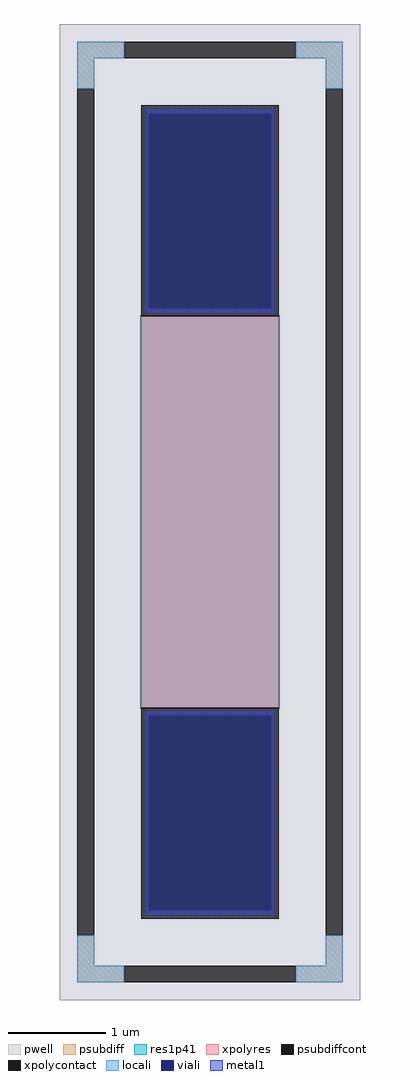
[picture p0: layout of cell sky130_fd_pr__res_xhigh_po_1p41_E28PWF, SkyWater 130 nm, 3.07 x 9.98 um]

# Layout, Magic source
magic
tech sky130A
magscale 1 2
<< pwell >>
rect -307 -998 307 998
<< psubdiff >>
rect -271 928 -175 962
rect 175 928 271 962
rect -271 866 -237 928
rect 237 866 271 928
rect -271 -928 -237 -866
rect 237 -928 271 -866
rect -271 -962 -175 -928
rect 175 -962 271 -928
<< psubdiffcont >>
rect -175 928 175 962
rect -271 -866 -237 866
rect 237 -866 271 866
rect -175 -962 175 -928
<< xpolycontact >>
rect -141 400 141 832
rect -141 -832 141 -400
<< xpolyres >>
rect -141 -400 141 400
<< locali >>
rect -271 928 -175 962
rect 175 928 271 962
rect -271 866 -237 928
rect 237 866 271 928
rect -271 -928 -237 -866
rect 237 -928 271 -866
rect -271 -962 -175 -928
rect 175 -962 271 -928
<< viali >>
rect -125 417 125 814
rect -125 -814 125 -417
<< metal1 >>
rect -131 814 131 826
rect -131 417 -125 814
rect 125 417 131 814
rect -131 405 131 417
rect -131 -417 131 -405
rect -131 -814 -125 -417
rect 125 -814 131 -417
rect -131 -826 131 -814
<< res1p41 >>
rect -143 -402 143 402
<< properties >>
string FIXED_BBOX -254 -945 254 945
string gencell sky130_fd_pr__res_xhigh_po_1p41
string library sky130
string parameters w 1.410 l 4.0 m 1 nx 1 wmin 1.410 lmin 0.50 rho 2000 val 5.94k dummy 0 dw 0.0 term 188.2 sterm 0.0 caplen 0 wmax 1.410 guard 1 glc 1 grc 1 gtc 1 gbc 1 compatible {sky130_fd_pr__res_xhigh_po_0p35  sky130_fd_pr__res_xhigh_po_0p69 sky130_fd_pr__res_xhigh_po_1p41  sky130_fd_pr__res_xhigh_po_2p85 sky130_fd_pr__res_xhigh_po_5p73} snake 0 full_metal 1 n_guard 0 hv_guard 0 vias 1 viagb 0 viagt 0 viagl 0 viagr 0
<< end >>
